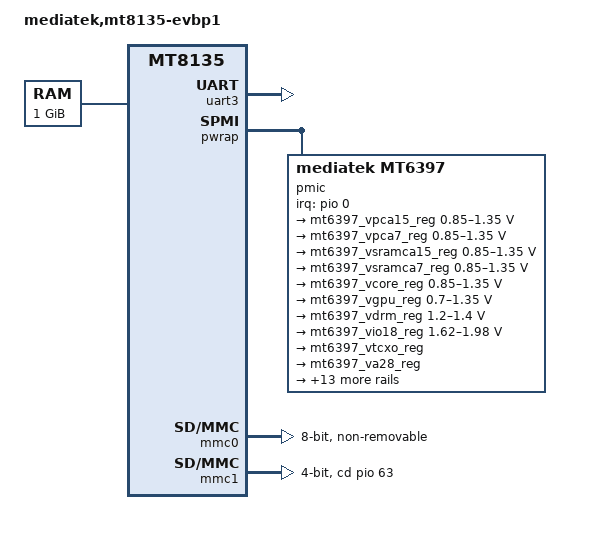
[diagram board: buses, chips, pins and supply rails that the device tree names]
/*
 * Copyright (c) 2014 MediaTek Inc.
 * Author: Joe.C <yingjoe.chen@mediatek.com>
 *
 * This program is free software; you can redistribute it and/or modify
 * it under the terms of the GNU General Public License version 2 as
 * published by the Free Software Foundation.
 *
 * This program is distributed in the hope that it will be useful,
 * but WITHOUT ANY WARRANTY; without even the implied warranty of
 * MERCHANTABILITY or FITNESS FOR A PARTICULAR PURPOSE.  See the
 * GNU General Public License for more details.
 */

/dts-v1/;
#include <dt-bindings/clock/mediatek,mt6397-clks.h>
#include "mt8135.dtsi"

/ {
	model = "mediatek,mt8135-evbp1", "mediatek,mt8135";

	memory {
		reg = <0 0x80000000 0 0x40000000>;
	};
};

&uart3 {
	status = "okay";
};

&pwrap {
	pmic: mt6397 {
		compatible = "mediatek,mt6397";
		interrupt-parent = <&pio>;
		interrupts = <0 IRQ_TYPE_LEVEL_HIGH>;
		interrupt-controller;
		#interrupt-cells = <2>;

		mt6397clock: mt6397clock {
			compatible = "mediatek,mt6397-clk";
			#clock-cells = <1>;
		};

		mt6397regulator: mt6397regulator {
			compatible = "mediatek,mt6397-regulator";

			mt6397_vpca15_reg: buck_vpca15 {
				regulator-compatible = "buck_vpca15";
				regulator-name = "vpca15";
				regulator-min-microvolt = < 850000>;
				regulator-max-microvolt = <1350000>;
				regulator-ramp-delay = <12500>;
				regulator-always-on;
			};

			mt6397_vpca7_reg: buck_vpca7 {
				regulator-compatible = "buck_vpca7";
				regulator-name = "vpca7";
				regulator-min-microvolt = < 850000>;
				regulator-max-microvolt = <1350000>;
				regulator-ramp-delay = <12500>;
				regulator-always-on;
			};

			mt6397_vsramca15_reg: buck_vsramca15 {
				regulator-compatible = "buck_vsramca15";
				regulator-name = "vsramca15";
				regulator-min-microvolt = < 850000>;
				regulator-max-microvolt = <1350000>;
				regulator-ramp-delay = <12500>;
				regulator-always-on;
			};

			mt6397_vsramca7_reg: buck_vsramca7 {
				regulator-compatible = "buck_vsramca7";
				regulator-name = "vsramca7";
				regulator-min-microvolt = < 850000>;
				regulator-max-microvolt = <1350000>;
				regulator-ramp-delay = <12500>;
				regulator-always-on;
			};

			mt6397_vcore_reg: buck_vcore {
				regulator-compatible = "buck_vcore";
				regulator-name = "vcore";
				regulator-min-microvolt = < 850000>;
				regulator-max-microvolt = <1350000>;
				regulator-ramp-delay = <12500>;
				regulator-always-on;
			};

			mt6397_vgpu_reg: buck_vgpu {
				regulator-compatible = "buck_vgpu";
				regulator-name = "vgpu";
				regulator-min-microvolt = < 700000>;
				regulator-max-microvolt = <1350000>;
				regulator-ramp-delay = <12500>;
				regulator-enable-ramp-delay = <115>;
			};

			mt6397_vdrm_reg: buck_vdrm {
				regulator-compatible = "buck_vdrm";
				regulator-name = "vdrm";
				regulator-min-microvolt = <1200000>;
				regulator-max-microvolt = <1400000>;
				regulator-ramp-delay = <12500>;
				regulator-always-on;
			};

			mt6397_vio18_reg: buck_vio18 {
				regulator-compatible = "buck_vio18";
				regulator-name = "vio18";
				regulator-min-microvolt = <1620000>;
				regulator-max-microvolt = <1980000>;
				regulator-ramp-delay = <12500>;
				regulator-always-on;
			};

			mt6397_vtcxo_reg: ldo_vtcxo {
				regulator-compatible = "ldo_vtcxo";
				regulator-name = "vtcxo";
				regulator-always-on;
			};

			mt6397_va28_reg: ldo_va28 {
				regulator-compatible = "ldo_va28";
				regulator-name = "va28";
				regulator-always-on;
			};

			mt6397_vcama_reg: ldo_vcama {
				regulator-compatible = "ldo_vcama";
				regulator-name = "vcama";
				regulator-min-microvolt = <1500000>;
				regulator-max-microvolt = <2800000>;
				regulator-enable-ramp-delay = <218>;
			};

			mt6397_vio28_reg: ldo_vio28 {
				regulator-compatible = "ldo_vio28";
				regulator-name = "vio28";
				regulator-always-on;
			};

			mt6397_vusb_reg: ldo_vusb {
				regulator-compatible = "ldo_vusb";
				regulator-name = "vusb";
			};

			mt6397_vmc_reg: ldo_vmc {
				regulator-compatible = "ldo_vmc";
				regulator-name = "vmc";
				regulator-min-microvolt = <1800000>;
				regulator-max-microvolt = <3300000>;
				regulator-enable-ramp-delay = <218>;
			};

			mt6397_vmch_reg: ldo_vmch {
				regulator-compatible = "ldo_vmch";
				regulator-name = "vmch";
				regulator-min-microvolt = <3000000>;
				regulator-max-microvolt = <3300000>;
				regulator-enable-ramp-delay = <218>;
			};

			mt6397_vemc_3v3_reg: ldo_vemc3v3 {
				regulator-compatible = "ldo_vemc3v3";
				regulator-name = "vemc_3v3";
				regulator-min-microvolt = <3000000>;
				regulator-max-microvolt = <3300000>;
				regulator-enable-ramp-delay = <218>;
			};

			mt6397_vgp1_reg: ldo_vgp1 {
				regulator-compatible = "ldo_vgp1";
				regulator-name = "vcamd";
				regulator-min-microvolt = <1220000>;
				regulator-max-microvolt = <3300000>;
				regulator-enable-ramp-delay = <240>;
			};

			mt6397_vgp2_reg: ldo_vgp2 {
				regulator-compatible = "ldo_vgp2";
				regulator-name = "vcamio";
				regulator-min-microvolt = <1000000>;
				regulator-max-microvolt = <3300000>;
				regulator-enable-ramp-delay = <218>;
			};

			mt6397_vgp3_reg: ldo_vgp3 {
				regulator-compatible = "ldo_vgp3";
				regulator-name = "vcamaf";
				regulator-min-microvolt = <1200000>;
				regulator-max-microvolt = <3300000>;
				regulator-enable-ramp-delay = <218>;
			};

			mt6397_vgp4_reg: ldo_vgp4 {
				regulator-compatible = "ldo_vgp4";
				regulator-name = "vgp4";
				regulator-min-microvolt = <1200000>;
				regulator-max-microvolt = <3300000>;
				regulator-enable-ramp-delay = <218>;
			};

			mt6397_vgp5_reg: ldo_vgp5 {
				regulator-compatible = "ldo_vgp5";
				regulator-name = "vgp5";
				regulator-min-microvolt = <1200000>;
				regulator-max-microvolt = <3000000>;
				regulator-enable-ramp-delay = <218>;
			};

			mt6397_vgp6_reg: ldo_vgp6 {
				regulator-compatible = "ldo_vgp6";
				regulator-name = "vgp6";
				regulator-min-microvolt = <1200000>;
				regulator-max-microvolt = <3300000>;
				regulator-enable-ramp-delay = <218>;
			};

			mt6397_vibr_reg: ldo_vibr {
				regulator-compatible = "ldo_vibr";
				regulator-name = "vibr";
				regulator-min-microvolt = <1300000>;
				regulator-max-microvolt = <3300000>;
				regulator-enable-ramp-delay = <218>;
			};
		};
	};
};

&pio {
	mmc0_pins_default: mmc0default {
		pins_cmd_dat {
			pins = <MT8135_PIN_0_MSDC0_DAT7__FUNC_MSDC0_DAT7>,
				<MT8135_PIN_1_MSDC0_DAT6__FUNC_MSDC0_DAT6>,
				<MT8135_PIN_2_MSDC0_DAT5__FUNC_MSDC0_DAT5>,
				<MT8135_PIN_3_MSDC0_DAT4__FUNC_MSDC0_DAT4>,
				<MT8135_PIN_4_MSDC0_CMD__FUNC_MSDC0_CMD>,
				<MT8135_PIN_6_MSDC0_DAT3__FUNC_MSDC0_DAT3>,
				<MT8135_PIN_7_MSDC0_DAT2__FUNC_MSDC0_DAT2>,
				<MT8135_PIN_8_MSDC0_DAT1__FUNC_MSDC0_DAT1>,
				<MT8135_PIN_9_MSDC0_DAT0__FUNC_MSDC0_DAT0>,
				<MT8135_PIN_33_MSDC0_RSTB__FUNC_MSDC0_RSTB>;
			bias-pull-up;
		};
		pins_clk {
			pins = <MT8135_PIN_5_MSDC0_CLK__FUNC_MSDC0_CLK>;
			bias-pull-down;
		};
	};

	mmc1_pins_default: mmc1default {
		pins_cmd_dat {
			pins = <MT8135_PIN_83_MSDC1_DAT0__FUNC_MSDC1_DAT0>,
			     <MT8135_PIN_84_MSDC1_DAT1__FUNC_MSDC1_DAT1>,
			     <MT8135_PIN_85_MSDC1_CMD__FUNC_MSDC1_CMD>,
			     <MT8135_PIN_87_MSDC1_DAT2__FUNC_MSDC1_DAT2>,
			     <MT8135_PIN_88_MSDC1_DAT3__FUNC_MSDC1_DAT3>,
			     <MT8135_PIN_63_MSDC1_INSI__FUNC_MSDC1_INSI>;
			bias-pull-up;
		};
		pins_clk {
			pins = <MT8135_PIN_86_MSDC1_CLK__FUNC_MSDC1_CLK>;
			bias-pull-down;
		};
	};

	mmc2_pins_default: mmc2default {
		pins_cmd_dat {
			pins = <MT8135_PIN_82_MSDC2_DAT0__FUNC_MSDC2_DAT0>,
			     <MT8135_PIN_81_MSDC2_DAT1__FUNC_MSDC2_DAT1>,
			     <MT8135_PIN_79_MSDC2_CMD__FUNC_MSDC2_CMD>,
			     <MT8135_PIN_77_MSDC2_DAT2__FUNC_MSDC2_DAT2>,
			     <MT8135_PIN_78_MSDC2_DAT3__FUNC_MSDC2_DAT3>,
			     <MT8135_PIN_65_MSDC2_INSI__FUNC_MSDC2_INSI>;
			bias-pull-up;
		};
		pins_clk {
			pins = <MT8135_PIN_80_MSDC2_CLK__FUNC_MSDC2_CLK>;
		bias-pull-down;
		};
	};

	mmc0_pins_uhs: mmc0@0 {
		pins_cmd_dat {
			pins = <MT8135_PIN_0_MSDC0_DAT7__FUNC_MSDC0_DAT7>,
			     <MT8135_PIN_1_MSDC0_DAT6__FUNC_MSDC0_DAT6>,
			     <MT8135_PIN_2_MSDC0_DAT5__FUNC_MSDC0_DAT5>,
			     <MT8135_PIN_3_MSDC0_DAT4__FUNC_MSDC0_DAT4>,
			     <MT8135_PIN_4_MSDC0_CMD__FUNC_MSDC0_CMD>,
			     <MT8135_PIN_6_MSDC0_DAT3__FUNC_MSDC0_DAT3>,
			     <MT8135_PIN_7_MSDC0_DAT2__FUNC_MSDC0_DAT2>,
			     <MT8135_PIN_8_MSDC0_DAT1__FUNC_MSDC0_DAT1>,
			     <MT8135_PIN_9_MSDC0_DAT0__FUNC_MSDC0_DAT0>,
			     <MT8135_PIN_33_MSDC0_RSTB__FUNC_MSDC0_RSTB>;
			input-enable;
			drive-strength = <MTK_DRIVE_6mA>;
			bias-pull-up = <MTK_PUPD_SET_R1R0_01>;
		};
		pins_clk {
			pins = <MT8135_PIN_5_MSDC0_CLK__FUNC_MSDC0_CLK>;
			drive-strength = <MTK_DRIVE_6mA>;
			bias-pull-down = <MTK_PUPD_SET_R1R0_01>;
		};
	};

	mmc1_pins_uhs: mmc1@0 {
		pins_cmd_dat {
			pins = <MT8135_PIN_83_MSDC1_DAT0__FUNC_MSDC1_DAT0>,
			     <MT8135_PIN_84_MSDC1_DAT1__FUNC_MSDC1_DAT1>,
			     <MT8135_PIN_85_MSDC1_CMD__FUNC_MSDC1_CMD>,
			     <MT8135_PIN_87_MSDC1_DAT2__FUNC_MSDC1_DAT2>,
			     <MT8135_PIN_88_MSDC1_DAT3__FUNC_MSDC1_DAT3>;
			input-enable;
			drive-strength = <MTK_DRIVE_8mA>;
			bias-pull-up = <MTK_PUPD_SET_R1R0_10>;
		};
		pins_clk {
			pins = <MT8135_PIN_86_MSDC1_CLK__FUNC_MSDC1_CLK>;
			drive-strength = <MTK_DRIVE_8mA>;
			bias-pull-down = <MTK_PUPD_SET_R1R0_10>;
		};
	};

	mmc2_pins_uhs: mmc2@0 {
		pins_cmd_dat {
			pins = <MT8135_PIN_82_MSDC2_DAT0__FUNC_MSDC2_DAT0>,
			     <MT8135_PIN_81_MSDC2_DAT1__FUNC_MSDC2_DAT1>,
			     <MT8135_PIN_79_MSDC2_CMD__FUNC_MSDC2_CMD>,
			     <MT8135_PIN_77_MSDC2_DAT2__FUNC_MSDC2_DAT2>,
			     <MT8135_PIN_78_MSDC2_DAT3__FUNC_MSDC2_DAT3>;
			input-enable;
			drive-strength = <MTK_DRIVE_8mA>;
			bias-pull-up = <MTK_PUPD_SET_R1R0_10>;
		};
		pins_clk {
			pins = <MT8135_PIN_80_MSDC2_CLK__FUNC_MSDC2_CLK>;
			drive-strength = <MTK_DRIVE_8mA>;
			bias-pull-down = <MTK_PUPD_SET_R1R0_10>;
		};
	};
};

&mmc0 {
	pinctrl-names = "default", "state_uhs";
	pinctrl-0 = <&mmc0_pins_default>;
	pinctrl-1 = <&mmc0_pins_uhs>;
	status = "okay";
	bus-width = <8>;
	max-frequency = <50000000>;
	cap-mmc-highspeed;
	core-power-supply = <&mt6397_vemc_3v3_reg>;
	non-removable;
	func = "EMMC";
};

&mmc1 {
	pinctrl-names = "default", "state_uhs";
	pinctrl-0 = <&mmc1_pins_default>;
	pinctrl-1 = <&mmc1_pins_uhs>;
	status = "okay";
	bus-width = <4>;
	max-frequency = <50000000>;
	core-power-supply = <&mt6397_vmch_reg>;
	io-power-supply = <&mt6397_vmc_reg>;
	cd-gpios = <&pio 63 0>;
	func = "SDCARD";
};
